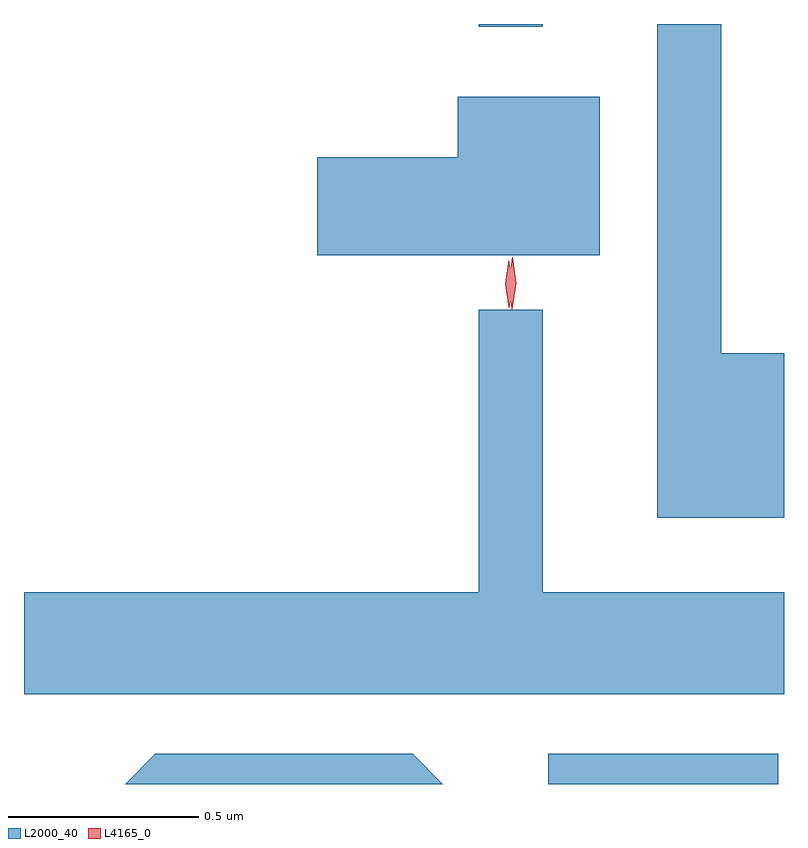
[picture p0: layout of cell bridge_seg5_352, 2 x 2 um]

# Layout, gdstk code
import gdstk
lib = gdstk.Library(unit=1e-6, precision=1e-09)
def R(c, l, rs):  # rectangles x0, y0, x1, y1
    for r in rs: c.add(gdstk.rectangle(r[:2], r[2:], *l))
def P(c, l, *ps):  # polygons
    for p in ps: c.add(gdstk.Polygon(p, *l))
L2000_40 = (2000, 40)
L4165_0 = (4165, 0)

bridge_seg5_352 = lib.new_cell('bridge_seg5_352')
R(bridge_seg5_352, L2000_40, [(680.993,1421.04,681.599,1421.119), (680.811,1423.033,680.979,1423.04)])
P(bridge_seg5_352, L2000_40, [(681.614,1422.174),(681.449,1422.174),(681.449,1423.04),(681.281,1423.04),(681.281,1421.741),(681.614,1421.741)],
  [(681.129,1422.849),(680.756,1422.849),(680.756,1422.689),(680.386,1422.689),(680.386,1422.431),(681.129,1422.431)],
  [(681.614,1421.544),(680.979,1421.544),(680.979,1422.288),(680.811,1422.288),(680.811,1421.544),(679.614,1421.544),(679.614,1421.276),(681.614,1421.276)],
  [(680.637,1421.119),(679.959,1421.119),(679.88,1421.04),(680.716,1421.04)])
P(bridge_seg5_352, L4165_0, [(680.898,1422.29),(680.898,1422.29),(680.889,1422.358),(680.899,1422.426),(680.9,1422.426),(680.9,1422.426),(680.909,1422.358),(680.899,1422.29)],
  [(680.89,1422.293),(680.88,1422.356),(680.889,1422.419),(680.889,1422.42),(680.89,1422.419),(680.9,1422.356),(680.891,1422.293),(680.891,1422.293)])

lib.write_gds('bridge_seg5_352.gds')
